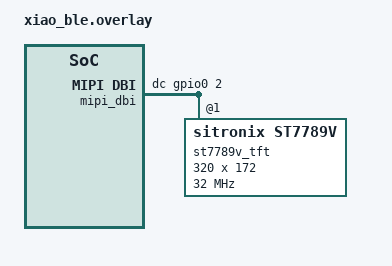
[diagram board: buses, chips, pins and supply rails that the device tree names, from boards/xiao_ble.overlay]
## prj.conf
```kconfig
CONFIG_LV_Z_MEM_POOL_SIZE=5000
CONFIG_LV_CONF_MINIMAL=y

CONFIG_LVGL=y
CONFIG_LV_USE_LOG=n
CONFIG_LV_USE_CANVAS=y
CONFIG_LV_COLOR_DEPTH_16=y

CONFIG_LV_COLOR_16_SWAP=n

CONFIG_LV_Z_FULL_REFRESH=n
CONFIG_LV_Z_VDB_ALIGN=4
CONFIG_LV_Z_VDB_SIZE=1
CONFIG_LV_Z_FLUSH_THREAD=n
CONFIG_LV_Z_DOUBLE_VDB=n

CONFIG_LV_Z_USE_FILESYSTEM=y

CONFIG_FS_LOG_LEVEL_INF=y

CONFIG_LV_FONT_DEFAULT_MONTSERRAT_48=n
CONFIG_LV_FONT_UNSCII_8=y
CONFIG_LV_FONT_UNSCII_16=y

CONFIG_CPP=y
CONFIG_MINIMAL_LIBCPP=n
CONFIG_GLIBCXX_LIBCPP=n
CONFIG_REQUIRES_FULL_LIBCPP=y
```

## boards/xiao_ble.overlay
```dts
#include <zephyr/dt-bindings/mipi_dbi/mipi_dbi.h>

/ {
	chosen {
		zephyr,display = &st7789v_tft;
	};

	mipi_dbi {
		compatible = "zephyr,mipi-dbi-spi";
		spi-dev = <&spi3>;
		dc-gpios = <&gpio0 2 GPIO_ACTIVE_HIGH>;
		clock-frequency = <DT_FREQ_M(32)>;
		write-only;
		#address-cells = <1>;
		#size-cells = <0>;
		status = "okay";

		st7789v_tft: st7789v_tft@1 {
			compatible = "sitronix,st7789v";
			status = "okay";
			reg = <1>;
			mipi-max-frequency = <DT_FREQ_M(32)>;
			width = <320>;
			height = <172>;
			x-offset = <0>;
			y-offset = <34>;
			vcom = <0x19>;
			gctrl = <0x35>;
			vrhs = <0x12>;
			vdvs = <0x20>;
			mdac = <0xA0>;
			gamma = <0x01>;
			colmod = <0x05>;
			lcm = <0x2C>;
			porch-param = [0c 0c 00 33 33];
			cmd2en-param = [5A 69 02 01];
			pwctrl1-param = [A4 A1];
			pvgam-param = [D0 04 0D 11 13 2B 3F 54 4C 18 0D 0B 1F 23];
			nvgam-param = [D0 04 0C 11 13 2C 3F 44 51 2F 1F 1F 20 23];
			ram-param = [00 F0];
			rgb-param = [CD 08 14];
			mipi-mode = "MIPI_DBI_MODE_SPI_4WIRE";
		};
	};
};
```

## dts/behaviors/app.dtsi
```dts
/*
 * Copyright (c) 2020 The ZMK Contributors
 *
 * SPDX-License-Identifier: MIT
 */

#include <dt-bindings/zmk/behaviors.h>
#include <dt-bindings/app_keys.h>
#include <dt-bindings/zmk/rgb.h>
#include <dt-bindings/zmk/outputs.h>

/ {
    behaviors {
        app: app {
            compatible = "zmk,behavior-app";
            #binding-cells = <1>;
            display-name = "App Key";
            bindings
                = <&rgb_ug RGB_BRI>
                , <&rgb_ug RGB_BRD>
                , <&out OUT_BLE>
                , <&out OUT_USB>
                , <&to 0>
                ;
        };

        app_encoder: app_encoder {
            compatible = "zmk,behavior-sensor-rotate";
            #sensor-binding-cells = <0>;
            bindings = <&app APP_INC>, <&app APP_DEC>;
        };
    };

    macros {
        app_macro: app_macro {
            compatible = "zmk,behavior-macro-two-param";
            #binding-cells = <2>;
            bindings
                = <&macro_param_1to1>
                , <&app MACRO_PLACEHOLDER>
                , <&macro_param_2to1>
                , <&to MACRO_PLACEHOLDER>
                ;
        };
    };
};
```

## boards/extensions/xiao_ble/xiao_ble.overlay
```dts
#include <zephyr/dt-bindings/mipi_dbi/mipi_dbi.h>

/ {
	chosen {
		zephyr,display = &st7789v_tft;
	};

	mipi_dbi {
		compatible = "zephyr,mipi-dbi-spi";
		spi-dev = <&spi3>;
		dc-gpios = <&gpio0 2 GPIO_ACTIVE_HIGH>;
		clock-frequency = <DT_FREQ_M(32)>;
		write-only;
		#address-cells = <1>;
		#size-cells = <0>;
		status = "okay";

		st7789v_tft: st7789v_tft@1 {
			compatible = "sitronix,st7789v";
			status = "okay";
			reg = <1>;
			mipi-max-frequency = <DT_FREQ_M(32)>;
			width = <320>;
			height = <172>;
			x-offset = <0>;
			y-offset = <34>;
			vcom = <0x19>;
			gctrl = <0x35>;
			vrhs = <0x12>;
			vdvs = <0x20>;
			mdac = <0xA0>;
			gamma = <0x01>;
			colmod = <0x05>;
			lcm = <0x2C>;
			porch-param = [0c 0c 00 33 33];
			cmd2en-param = [5A 69 02 01];
			pwctrl1-param = [A4 A1];
			pvgam-param = [D0 04 0D 11 13 2B 3F 54 4C 18 0D 0B 1F 23];
			nvgam-param = [D0 04 0C 11 13 2C 3F 44 51 2F 1F 1F 20 23];
			ram-param = [00 F8];
			rgb-param = [CD 08 14];
			mipi-mode = "MIPI_DBI_MODE_SPI_4WIRE";
		};
	};
};
```

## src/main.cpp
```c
// #include "main.h"
#include <lvgl.h>
#include <sstream>
#include <string>
#include <zephyr/device.h>
#include <zephyr/devicetree.h>
#include <zephyr/drivers/display.h>

#include <zephyr/kernel.h>
#include <zephyr/logging/log.h>
#include <zephyr/random/random.h>

#include <iomanip>

#include "animated_image.hpp"
#include "checkbox.hpp"
#include "draw/lv_draw_label.h"
#include "label.hpp"
#include "misc/lv_area.h"
#include "misc/lv_color.h"
#include "screen.hpp"
#include "screen_manager.hpp"
#include "setting.hpp"
#include "settings_panel.hpp"
#include "slider.hpp"
#include "utils.hpp"
#include "zmk/endpoints_types.h"

#include <dt-bindings/app_keys.h>

// #include <zmk/rgb_underglow.h>

#include <cmath>
#include <cstdint>

#include <zmk/behavior.h>
#include <zmk/events/activity_state_changed.h>

LOG_MODULE_REGISTER(display_app, CONFIG_ZMK_LOG_LEVEL);

// Forward Declarations
extern "C" void invokeBinding(int num);

K_SEM_DEFINE(flushStartSema, 0, 1);

Screen *mainScreen;
Screen *settingsScreen;
Screen *idleScreen;

SliderSetting keyBrightnessSetting(
    "Key Brightness", CONFIG_ZMK_RGB_UNDERGLOW_BRT_START / CONFIG_ZMK_RGB_UNDERGLOW_BRT_STEP,
    CONFIG_ZMK_RGB_UNDERGLOW_BRT_MAX / CONFIG_ZMK_RGB_UNDERGLOW_BRT_STEP, CONFIG_ZMK_RGB_UNDERGLOW_BRT_MIN / CONFIG_ZMK_RGB_UNDERGLOW_BRT_STEP,
    [](std::int32_t delta) {
      std::int32_t ticks = std::abs(delta);
      for (int i = 0; i < ticks; i++) {
        invokeBinding(delta > 0 ? APP_RGB_BRI : APP_RGB_BRD);
      }
    });

SettingsPanel* settingsPanel;

extern "C" struct zmk_endpoint_instance zmk_endpoints_selected(void);

int display_thread(void) {
  const struct device *display_dev;

  k_sleep(K_MSEC(1000));

  display_dev = DEVICE_DT_GET(DT_CHOSEN(zephyr_display));
  if (!device_is_ready(display_dev)) {
    LOG_ERR("Device not ready, aborting test");
    return 0;
  }

  k_sleep(K_MSEC(1000)); // let the flash disk settle

  display_blanking_off(display_dev);

  ScreenManager &screenManager = ScreenManager::getScreenManager();

  idleScreen = new Screen();
  idleScreen->hasBackground = true;
  idleScreen->backgroundColor = lv_color_black();

  // setup a simple screen with an animation and FPS label
  mainScreen = new Screen();
  mainScreen->elements.emplace_back(new AnimatedImage(
      lv_area_t{0, 0, 319, 171}, "/NAND:/frame_", ".bin", 11));

  auto fpsLabel = new Label(lv_point_t{260, 160});
  fpsLabel->setDesc([](lv_draw_label_dsc_t &desc) {
    lv_draw_label_dsc_init(&desc);
    desc.font = &lv_font_unscii_8;
    desc.color = lv_color_white();
  });
  fpsLabel->setTickCallback([](lv_draw_label_dsc_t &desc, std::string &text) {
    static std::uint32_t last_frame_time = 0;
    static std::uint32_t fps = 0;

    uint32_t frame_time = k_cycle_get_32();
    std::uint32_t newFps =
        1000 / k_cyc_to_ms_floor32(frame_time - last_frame_time);
    last_frame_time = frame_time;

    std::stringstream stream{};
    stream << std::setfill('0') << std::setw(2);
    stream << std::to_string(newFps) << " FPS\0";

    text = stream.str();

    bool ret = (newFps != fps);
    fps = newFps;
    return ret;
  });
  mainScreen->elements.emplace_back(fpsLabel);

  // setup settings screen for later
  settingsScreen = new Screen();
  settingsScreen->hasBackground = true;
  settingsScreen->backgroundColor = lv_color_white();

  auto myLabel = new Label(lv_point_t{100, 100});
  myLabel->setText("Hello!");
  myLabel->setDesc([](lv_draw_label_dsc_t &desc) {
    desc.font = &lv_font_unscii_16;
    desc.color = lv_color_black();
  });
  settingsScreen->elements.emplace_back(myLabel);

  settingsPanel = new SettingsPanel(lv_area_t{10, 10, 0, 0});
  settingsPanel->setDesc([](lv_draw_label_dsc_t &textDesc,
                            lv_draw_label_dsc_t &hoveredTextDesc,
                            lv_draw_rect_dsc_t &hoveredBackgroundDesc,
                            lv_draw_rect_dsc_t &selectedBackgroundDesc,
                            lv_draw_label_dsc_t &selectedTextDesc) {
    textDesc.color = lv_color_black();
    textDesc.font = &lv_font_unscii_8;

    hoveredTextDesc.color = lv_color_black();
    hoveredTextDesc.font = &lv_font_unscii_8;

    hoveredBackgroundDesc.bg_opa = LV_OPA_0;
    hoveredBackgroundDesc.outline_color = lv_color_hex(0x0096FF);
    hoveredBackgroundDesc.outline_width = 3;

    selectedBackgroundDesc.bg_color = lv_color_hex(0x0000FF);

    selectedTextDesc.color = lv_color_white();
  });

  auto mySlider = new Slider(lv_area_t{20, 20, 160, 40}, keyBrightnessSetting);
  mySlider->setDesc(
      [](lv_draw_rect_dsc_t &boundingDesc, lv_draw_rect_dsc_t &slideDesc) {
        boundingDesc.bg_color = lv_color_hex(0x808080);

        boundingDesc.outline_color = lv_color_black();
        boundingDesc.outline_width = 3;

        slideDesc.bg_color = lv_color_hex(0x0096FF);
      });
  settingsPanel->addSetting(&keyBrightnessSetting, mySlider);

  auto bluetoothToggle = new ToggleSetting(
      "Bluetooth Enable",
      zmk_endpoints_selected().transport == zmk_transport::ZMK_TRANSPORT_BLE,
      [](bool newVal) { invokeBinding(newVal ? APP_BLE : APP_USB); });
  auto bluetoothCheckbox =
      new Checkbox(lv_area_t{20, 20, 40, 40}, *bluetoothToggle);
  bluetoothCheckbox->setDesc(
      [](lv_draw_rect_dsc_t &boundingDesc, lv_draw_rect_dsc_t &onDesc) {
        boundingDesc.bg_opa = LV_OPA_0;
        boundingDesc.outline_color = lv_color_hex(0xA0A0A0);
        boundingDesc.outline_width = 4;

        onDesc.bg_color = lv_color_hex(0x0000FF);
      });
  settingsPanel->addSetting(bluetoothToggle, bluetoothCheckbox);
  settingsScreen->elements.emplace_back(settingsPanel);

  screenManager.setScreen(mainScreen);

  screenManager.loop();

  return 0;
}

K_THREAD_DEFINE(dsp_thread, 8192, display_thread, NULL, NULL, NULL, 3, 0, 0);

// Hook into ZMK's activity event to pause the display when we enter idle
// Eventually this would also shutoff the backlight, but right now the keypad
// doesn't have backlight controls :) This is implemented incorrectly on
// purpose. Linker errors occur with as_zmk_activity_state_changed() not being
// defined for some reason.
static int display_activity_listener(const zmk_event_t *eh) {
  auto stateChange =
      reinterpret_cast<const zmk_activity_state_changed_event *>(eh);
  LOG_DBG("Acitivty State: %d", stateChange->data.state);
  switch (stateChange->data.state) {
  case ZMK_ACTIVITY_ACTIVE:
    // ScreenManager::getScreenManager().setScreen(mainScreen);
    break;
  case ZMK_ACTIVITY_IDLE:
  case ZMK_ACTIVITY_SLEEP:
    // ScreenManager::getScreenManager().setScreen(idleScreen);
    break;
  }
  return 0;
}

ZMK_LISTENER(activity, display_activity_listener);
ZMK_SUBSCRIPTION(activity, zmk_activity_state_changed);

// not thread safe :)
extern "C" void switchScreensC(int screenNum) {
  LOG_INF("I'm in C++ land!");

  auto &screenManager = ScreenManager::getScreenManager();

  switch (screenNum) {
  case 0:
    screenManager.setScreen(mainScreen);
    break;
  case 1:
    screenManager.setScreen(settingsScreen);
    break;
  }
}

extern "C" void processKeyPress(int key) {
  auto &screenManager = ScreenManager::getScreenManager();

  LOG_DBG("Processing key %d", key);

  if (screenManager.getScreen() != settingsScreen) {
    LOG_DBG("Not on settings screen");
    return;
  }

  if (!settingsPanel->hasSelection()) {
    LOG_DBG("No selection");
    switch (key) {
    case APP_DEC:
      LOG_DBG("DOWN DOWN DOWN");
      settingsPanel->hoverNext();
      break;
    case APP_INC:
      LOG_DBG("UP UP UP");
      settingsPanel->hoverPrev();
      break;
    case APP_A:
      LOG_DBG("SELECT!!!!");
      settingsPanel->select();
      break;
    case APP_B:
      switchScreensC(0);
      invokeBinding(APP_MAIN);
      break;
    default:
      LOG_DBG("wth...");
    }
  } else {
    LOG_DBG("Selection available");
    switch (key) {
      case APP_INC:
        settingsPanel->action(SettingAction::INCREASE);
        break;
      case APP_DEC:
        settingsPanel->action(SettingAction::DECREASE);
        break;
      case APP_A:
        settingsPanel->action(SettingAction::TOGGLE);
        break;
      case APP_B:
        settingsPanel->deselect();
        break;
    }
  }
}

// K_THREAD_DEFINE(screen_switch_thread, 1024, switchScreens, NULL, NULL, NULL,
// 2, 0, 0);
```

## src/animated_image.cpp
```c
#include "animated_image.hpp"

#include "image.hpp"
#include <lvgl.h>
#include <zephyr/fs/fs.h>
#include <zephyr/logging/log.h>

#include <string>
#include <cstdint>

LOG_MODULE_DECLARE(display_app);

AnimatedImage::AnimatedImage(lv_area_t coords, std::string prefix, std::string suffix, std::uint8_t numFrames)
    : Image(coords), counter(0), numFrames(numFrames), filePrefix(prefix), fileSuffix(suffix)
{
}

bool AnimatedImage::tick()
{
   // LOG_PRINTK("Ticking animation\n");
   // The LVGL version that ZMK uses has a memory leak on file close.
   if (file.file_d != nullptr)
   {
      lv_fs_close(&file);
   }

   std::string fileName = generateFileName();
   // LOG_PRINTK("Opening %s\n", fileName.c_str());
   lv_fs_res_t res = lv_fs_open(&file, fileName.c_str(), LV_FS_MODE_RD);
   if (res != LV_FS_RES_OK)
   {
      LOG_ERR("File %s failed to open", fileName.c_str());
      counter = 0;
      return false;
   }
   // LOG_INF("opened file!");
   counter = (counter + 1) % numFrames;

   return true;
}
```

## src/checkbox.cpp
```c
#include "checkbox.hpp"
#include "mini_canvas.hpp"
#include "misc/lv_area.h"
#include "utils.hpp"
#include "zephyr/logging/log.h"
#include <lvgl.h>


LOG_MODULE_DECLARE(display_app, CONFIG_ZMK_LOG_LEVEL);

lv_area_t operator-(lv_area_t const &coord1, lv_point_t const &offset);

bool Checkbox::tick() {
  bool retVal = setting.getValue() != oldValue;
  oldValue = setting.getValue();
  return retVal;
}

void Checkbox::draw(MiniCanvas *canvas) {
  lv_layer_t layer;
  lv_canvas_init_layer(reinterpret_cast<lv_obj_t *>(canvas), &layer);

  lv_area_t adjustedCoords =
      coords - lv_point_t{canvas->img.obj.coords.x1, canvas->img.obj.coords.y1};

  LOG_PRINTK("X1: %d\nY1: %d\n", adjustedCoords.x1, adjustedCoords.y1);
  LOG_PRINTK("X2: %d\nY2: %d\n", adjustedCoords.x2, adjustedCoords.y2);

  lv_draw_rect(&layer, &boundingDesc, &adjustedCoords);

  if (setting.getValue()) {
    lv_draw_rect(&layer, &onDesc, &adjustedCoords);
  }

  lv_canvas_finish_layer(reinterpret_cast<lv_obj_t *>(canvas), &layer);
}
```

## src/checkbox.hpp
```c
#pragma once

#include "canvas_object.hpp"
#include "setting.hpp"
#include <lvgl.h>

class Checkbox : public CanvasObject
{
    private:
    ToggleSetting& setting;
    bool oldValue = false;
    lv_draw_rect_dsc_t boundingDesc{};
    lv_draw_rect_dsc_t onDesc{};

    public:
    Checkbox(lv_area_t coords, ToggleSetting& setting) : CanvasObject(coords), setting(setting)
    {
        lv_draw_rect_dsc_init(&boundingDesc);
        lv_draw_rect_dsc_init(&onDesc);
    }

    void setDesc(std::function<void(lv_draw_rect_dsc_t& boundingDesc, lv_draw_rect_dsc_t& onDesc)> const& callback)
    {
       callback(boundingDesc, onDesc);
    }

    bool tick() override;

    void draw(MiniCanvas* canvas) override;
};
```

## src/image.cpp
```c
#include "image.hpp"

#include "canvas_object.hpp"
#include "mini_canvas.hpp"
#include <lvgl.h>
#include <zephyr/logging/log.h>

LOG_MODULE_DECLARE(display_app);

Image::Image(lv_area_t coords) : CanvasObject(coords)
{
}

void Image::draw(MiniCanvas* canvas)
{
   if (canvas == nullptr)
   {
      LOG_ERR("Canvas is null");
      return;
   }
   if (!inBounds(canvas))
   {
      LOG_INF("Image is not in bounds of the canvas, skipping...");
      return;
   }

   if (file.file_d == nullptr)
   {
      LOG_ERR("File is null :(");
      return;
   }

   // Check if this image is left aligned to the canvas (no x offset and the widths are the same).
   // If the image is aligned, the image can be rendered onto the canvas in one go since we do not need to stop
   // streaming image file data every line to crop and pad.
   std::uint16_t imageWidth = this->coords.x2 - this->coords.x1 + 1;
   std::uint16_t imageHeight = this->coords.y2 - this->coords.y1 + 1;
   auto& canvasCoords = canvas->img.obj.coords;

   if (this->coords.x1 == 0 && canvas->img.w == imageWidth)
   {
      // Skip over the image header and any rows that are obscured by the canvas' current bound
      std::uint32_t filePos = 4; // Skip over image header from LVGL v8 conversion tool
      std::uint32_t canvasPos = 0;
      std::int32_t delta = this->coords.y1 - canvasCoords.y1;
      if (delta < 0)
      {
         // The image is positioned above the start of the canvas viewable area
         // We need to seek futher into the image data to begin reading into canvas[0][0] at the right place.
         filePos = static_cast<std::uint32_t>(-delta) * imageWidth * 2;
      }
      else if (delta > 0)
      {
         // The image is positioned below the start of the canvas vierable area
         // We need to begin reading data into an offset in the canvas, not the file.
         canvasPos = delta * imageWidth * 2;
      }
      else
      {
         // Canvas and image are top-left aligned, nothing to do.
      }

      // Adjust the size of data to be read based on how many of the image rows are in bounds
      std::uint16_t visibleRows = 0;
      if ((this->coords.y1 - canvasCoords.y1) < 0 && (this->coords.y2 - canvasCoords.y2 > 0))
      {
         // Image starts before and ends after. The canvas bounds are within the entire image bounds.
         visibleRows = canvas->img.h;
      }
      else if ((this->coords.y1 - canvasCoords.y1) < 0 && (this->coords.y2 - canvasCoords.y2 < 0))
      {
         // Image starts before and ends before.
         visibleRows = this->coords.y2 - canvasCoords.y1;
      }
      else if ((this->coords.y1 - canvasCoords.y1) > 0 && (this->coords.y2 - canvasCoords.y2 > 0))
      {
         // Image starts after and ends after.
         visibleRows = canvasCoords.y2 - this->coords.y1;
      }
      else if ((this->coords.y1 - canvasCoords.y1) > 0 && (this->coords.y2 - canvasCoords.y2 < 0))
      {
         // Image starts after and ends before. The image bounds are entirely within the canvas bounds
         visibleRows = imageHeight;
      }
      else
      {
         // Image and canvas are perfectly aligned and the same size
         visibleRows = canvas->img.h;
      }

      std::uint32_t croppedSize = visibleRows * imageWidth * 2;
      lv_fs_seek(&file, filePos, LV_FS_SEEK_SET);

      std::uint32_t read_bytes = 0;
      // LOG_INF("reading");
      lv_fs_read(&file, canvas->canvasBuffer, croppedSize, &read_bytes);
      if (read_bytes != croppedSize)
      {
         LOG_ERR("Failed to read entire selection, only read %u bytes", read_bytes);
      }
      // LOG_INF("Finished reading");
   }
   else
   {
      // Arbitrary image position is not currently supported
      LOG_INF("Image is not aligned with the canvas, skipping...");
      return;
   }
}
```

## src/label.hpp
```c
#include "canvas_object.hpp"
#include "draw/lv_draw_label.h"
#include "mini_canvas.hpp"
#include "misc/lv_area.h"
#include <functional>
#include <lvgl.h>
#include <string>

class Label : public CanvasObject
{
   private:
   lv_draw_label_dsc_t labelDesc{};
   std::string text{};
   std::function<bool(lv_draw_label_dsc_t&, std::string&)> tickCallback{};

   public:
   void setDesc(std::function<void(lv_draw_label_dsc_t& desc)> const& callback)
   {
      callback(labelDesc);
   }

   void setText(std::string const& str)
   {
      text = str;
   }

   void setTickCallback(std::function<bool(lv_draw_label_dsc_t&, std::string&)> const& callback)
   {
      tickCallback = callback;
   }

   bool tick() override
   {
      if (tickCallback)
      {
         return tickCallback(labelDesc, text);
      }

      return false;
   }

   void draw(MiniCanvas* canvas) override
   {
      lv_layer_t layer;
      lv_canvas_init_layer(reinterpret_cast<lv_obj_t*>(canvas), &layer);
      labelDesc.text = text.c_str();
      lv_area_t textCoords{coords.x1 - canvas->img.obj.coords.x1, coords.y1 - canvas->img.obj.coords.y1, coords.x1 - canvas->img.obj.coords.x1 + 200, coords.y1 - canvas->img.obj.coords.y1 + 20};
      lv_draw_label(&layer, &labelDesc, &textCoords);
      lv_canvas_finish_layer(reinterpret_cast<lv_obj_t*>(canvas), &layer);
   }

   Label(lv_point_t coords) : CanvasObject(lv_area_t{coords.x, coords.y, 0, 0})
   {
      lv_draw_label_dsc_init(&labelDesc);
   }
};
```

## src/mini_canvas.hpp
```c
#pragma once

#include <lvgl.h>
#include <widgets/canvas/lv_canvas_private.h>
#include <cstdint>

struct MiniCanvas : public lv_canvas_t
{
   std::uint8_t* canvasBuffer{};
};
```

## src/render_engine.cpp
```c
#include "render_engine.hpp"
#include <lvgl.h>
#include <zephyr/kernel.h>
#include <zephyr/logging/log.h>
#include <cstring>

#include "misc/lv_color.h"
#include "screen.hpp"
#include "widgets/canvas/lv_canvas.h"

LOG_MODULE_DECLARE(display_app);

RenderEngine::RenderEngine()
{
}

void RenderEngine::draw(Screen& screen, MiniCanvas* canvas)
{
   if (screen.hasBackground && drawBackground > 0)
   {
      lv_canvas_fill_bg(reinterpret_cast<lv_obj_t*>(canvas), screen.backgroundColor, LV_OPA_100);
      drawBackground--;
   }

   for (auto& object : screen.elements)
   {
      // LOG_INF("Drawing canvas object");
      object->draw(canvas);
   }

   // LOG_INF("Finished drawing canvas");
}
```

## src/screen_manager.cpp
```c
#include "screen_manager.hpp"

#include <lvgl.h>

#include <cstdint>

#include "render_engine.hpp"
#include <cstring>
#include <zephyr/kernel.h>
#include <zephyr/logging/log.h>
#include <zmk/activity.h>
#include <zmk/event_manager.h>

LOG_MODULE_DECLARE(display_app, CONFIG_ZMK_LOG_LEVEL);

namespace {
K_SEM_DEFINE(readSema1, 1, 1);
K_SEM_DEFINE(readSema2, 1, 1);
K_SEM_DEFINE(flushSema1, 0, 1);
K_SEM_DEFINE(flushSema2, 0, 1);

} // namespace

alignas(4) std::uint8_t ScreenManager::image_buffer[IMAGE_SIZE] = {0};

ScreenManager::ScreenManager() {
  renderEngine = new RenderEngine();

  // Intialize our MiniCanvases
  lv_canvas_t *lvCanvas =
      reinterpret_cast<lv_canvas_t *>(lv_canvas_create(lv_scr_act()));
  std::memcpy(static_cast<void *>(&miniCanvas1), lvCanvas, sizeof(lv_canvas_t));
  miniCanvas1.canvasBuffer = image_buffer;
  lv_canvas_set_buffer(reinterpret_cast<lv_obj_t *>(&miniCanvas1),
                       miniCanvas1.canvasBuffer, SCREEN_WIDTH,
                       SCREEN_HEIGHT / 2, LV_COLOR_FORMAT_RGB565);
  miniCanvas1.img.obj.coords = lv_area_t{0, 0, 319, 85};

  lvCanvas = reinterpret_cast<lv_canvas_t *>(lv_canvas_create(lv_scr_act()));
  std::memcpy(static_cast<void *>(&miniCanvas2), lvCanvas, sizeof(lv_canvas_t));
  miniCanvas2.canvasBuffer =
      &image_buffer[SCREEN_WIDTH * (SCREEN_HEIGHT / 2) * 2];
  lv_canvas_set_buffer(reinterpret_cast<lv_obj_t *>(&miniCanvas2),
                       miniCanvas2.canvasBuffer, SCREEN_WIDTH,
                       SCREEN_HEIGHT / 2, LV_COLOR_FORMAT_RGB565);
  miniCanvas2.img.obj.coords = lv_area_t{0, 86, 319, 171};

  // Initialize display descriptor
  display_desc.buf_size = IMAGE_SIZE / 2;
  display_desc.width = 320;
  display_desc.height = 86;
  display_desc.pitch = 0;
}

bool ScreenManager::tick() {
  // LOG_INF("tick!");
  if (currentScreen != nullptr) {
    return currentScreen->tick();
  }

  return false;
}

void ScreenManager::draw(MiniCanvas *canvas) {
  // LOG_INF("draw!");
  if (currentScreen != nullptr) {
    renderEngine->draw(*currentScreen, canvas);
  }
}

void ScreenManager::flush(MiniCanvas *canvas) {
  // LOG_INF("Flushing...");
  display_write(display_dev, canvas->img.obj.coords.x1,
                canvas->img.obj.coords.y1, &display_desc, canvas->canvasBuffer);
  // LOG_INF("Flushing complete!");
}

K_SEM_DEFINE(displayRefreshSema, 1, 1)

void displayRefresh(struct k_timer *dummy) { k_sem_give(&displayRefreshSema); }

K_TIMER_DEFINE(displayTimer, displayRefresh, NULL);

void ScreenManager::loop() {
  k_timer_start(&displayTimer, K_MSEC(30), K_MSEC(30));

  while (1) {
    // Wait here until we've been resumed
    while (!running) {
      k_sleep(K_MSEC(1));
    }

    k_sem_take(&displayRefreshSema, K_FOREVER);

    // TODO RACE CONDITION!! screen changing is not thread safe
    if (tick() || screenChanged) {
      screenChanged = false;

      k_sem_take(&readSema1, K_FOREVER);
      draw(&miniCanvas1);
      k_sem_give(&flushSema1);

      k_sem_take(&readSema2, K_FOREVER);
      draw(&miniCanvas2);
      k_sem_give(&flushSema2);
    }
  }
}

void ScreenManager::flushLoop() {
  ScreenManager &screen = ScreenManager::getScreenManager();
  while (1) {
    k_sem_take(&flushSema1, K_FOREVER);
    screen.flush(&screen.miniCanvas1);
    k_sem_give(&readSema1);

    k_sem_take(&flushSema2, K_FOREVER);
    screen.flush(&screen.miniCanvas2);
    k_sem_give(&readSema2);
  }
}

K_THREAD_DEFINE(flushing_thread, 4048, ScreenManager::flushLoop, NULL, NULL,
                NULL, 3, 0, 0);
```

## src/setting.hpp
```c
#pragma once

#include "zephyr/logging/log.h"
#include <cstdint>
#include <functional>
#include "utils.hpp"
#include <string>

enum SettingAction
{
   TOGGLE,
   INCREASE,
   DECREASE
};

class Setting
{
   protected:
   std::string name;

   public:
   Setting(std::string name) : name(name)
   {
   }

   std::string getName()
   {
      return name;
   }

   virtual void action(SettingAction action) = 0;
};

class SliderSetting : public Setting
{
   protected:
   std::int32_t value;
   std::int32_t max;
   std::int32_t min;
   std::function<void(std::int32_t)> callback;

   public:
   SliderSetting(std::string name, std::int32_t start, std::int32_t max, std::int32_t min,
                 std::function<void(std::int32_t)> const& callback)
       : Setting(name), value(start), max(max), min(min), callback(callback)
   {
   }

   void addDelta(std::int32_t delta)
   {
      std::int32_t newValue = Utils::clamp<std::int32_t>(value + delta, max, min);
      std::int32_t actualDelta = newValue - value;
      LOG_PRINTK("\n\nCurrent Val: %d\n New Val: %d\n Actual Delta %d\n", value, newValue, actualDelta);
      callback(actualDelta);
      value = newValue;
   }

   void setValue(std::int32_t val)
   {
      std::int32_t newValue = Utils::clamp<std::int32_t>(val, max, min);
      std::int32_t delta = newValue - value;
      callback(delta);
      value = newValue;
   }

   std::int32_t getValue()
   {
      return value;
   }

   std::int32_t getMax()
   {
      return max;
   }

   std::int32_t getMin()
   {
      return min;
   }

   void action(SettingAction action) override
   {
      switch (action)
      {
         case SettingAction::INCREASE:
            addDelta(1);
            break;
         case SettingAction::DECREASE:
            addDelta(-1);
            break;
      }
   }
};

class ToggleSetting : public Setting
{
   protected:
   bool currentToggle;
   std::function<void(bool)> callback;

   public:
   ToggleSetting(std::string name, bool start, std::function<void(bool)> callback) : Setting(name), currentToggle(start), callback(callback)
   {
   }

   bool getValue()
   {
      return currentToggle;
   }

   void toggle()
   {
      currentToggle = !currentToggle;
      callback(currentToggle);
   }

   void action(SettingAction action) override
   {
      if (action == SettingAction::TOGGLE)
      {
         LOG_PRINTK("Toggling!");
         toggle();
      }
   }
};
```

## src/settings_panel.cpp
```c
#include "settings_panel.hpp"
#include "misc/lv_color.h"
#include <zephyr/logging/log.h>

LOG_MODULE_DECLARE(display_app, CONFIG_ZMK_LOG_LEVEL);

namespace {
lv_area_t operator-(lv_area_t const &coord1, lv_area_t const &coord2) {
  return lv_area_t{
      coord1.x1 - coord2.x1,
      coord1.y1 - coord2.y1,
      coord1.x2 - coord2.x2,
      coord1.y2 - coord2.y2,
  };
}
} // namespace

void SettingsPanel::setDesc(
    std::function<void(
        lv_draw_label_dsc_t &textDesc, lv_draw_label_dsc_t &hoveredTextDesc,
        lv_draw_rect_dsc_t &hoveredBackgroundDesc, lv_draw_rect_dsc_t &selectedBackgroundDesc, lv_draw_label_dsc_t &selectedTextDesc)> const &callback) {
  callback(textDesc, hoveredTextDesc, hoveredBackgroundDesc, selectedBackgroundDesc, selectedTextDesc);
}

void SettingsPanel::addSetting(Setting *setting, CanvasObject *canvasObject) {
  settings.emplace_back(SettingWithCanvasObject{setting, canvasObject});
}

void SettingsPanel::action(SettingAction action) {
  if (!selected) {
    selected = true;
  } else {
    Setting *currentSetting = settings[hoveredSettingIndex].setting;
    currentSetting->action(action);
  }
  updated = true;
}

bool SettingsPanel::hasSelection() { return selected; }

void SettingsPanel::select() { selected = true; updated = true; }

void SettingsPanel::deselect() {
  selected = false;
  updated = true;
}

void SettingsPanel::hoverNext() {
  if (selected) {
    return;
  }

  hoveredSettingIndex =
      Utils::clamp<std::uint32_t>(hoveredSettingIndex + 1, settings.size() - 1, 0);

  updated = true;
}

void SettingsPanel::hoverPrev() {
  if (selected) {
    return;
  }

  hoveredSettingIndex =
      Utils::clamp<std::uint32_t>(hoveredSettingIndex - 1, settings.size() - 1, 0);

  updated = true;
}

bool SettingsPanel::tick() {
  bool retVal = updated;
  for (auto &it : settings) {
    retVal |= it.canvasObject->tick();
  }
  updated = false;
  return retVal;
}

void SettingsPanel::draw(MiniCanvas *canvas) {
  LOG_DBG("DRAW! %d", hoveredSettingIndex);
  // Draw all settings in a vertical list, placing the hovered one in a
  // "selected" color and invert text color

     lv_layer_t layer;
    lv_canvas_init_layer(reinterpret_cast<lv_obj_t *>(canvas), &layer);

    lv_canvas_fill_bg(reinterpret_cast<lv_obj_t*>(canvas), lv_color_white(), LV_OPA_100);

  for (int i = 0; i < settings.size(); i++) {
    lv_area_t adjustedCoords = coords - canvas->img.obj.coords;

    settings[i].canvasObject->setPosition(
        lv_point_t{adjustedCoords.x1 + 150,
                   static_cast<lv_coord_t>(adjustedCoords.y1 + (i * 30))});

    // Draw background first
    if (i == hoveredSettingIndex) {
      lv_area_t rectCoords{adjustedCoords.x1, adjustedCoords.y1 + (i * 30),
                           adjustedCoords.x1 + 130, adjustedCoords.y1 + (i * 30) + 20};
      lv_draw_rect(&layer, selected ? &selectedBackgroundDesc : &hoveredBackgroundDesc, &rectCoords);
    }

    // Draw text
    lv_area_t textCoords{
        adjustedCoords.x1 + 5,
        static_cast<lv_coord_t>(adjustedCoords.y1 + 5 + (i * 30)),
        adjustedCoords.x1 + 200,
        static_cast<lv_coord_t>(adjustedCoords.y1 + 5 + (i * 30) + 30)};
    lv_draw_label_dsc_t &dsc =
        i == hoveredSettingIndex ? (selected ? selectedTextDesc : hoveredTextDesc) : textDesc;
    dsc.text = settings[i].setting->getName().c_str();
    lv_draw_label(&layer, &dsc, &textCoords);

    lv_canvas_finish_layer(reinterpret_cast<lv_obj_t *>(canvas), &layer);

    // Draw setting widget
    settings[i].canvasObject->draw(canvas);
  }
}
```

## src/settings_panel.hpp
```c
#pragma once

#include "canvas_object.hpp"
#include "mini_canvas.hpp"
#include "misc/lv_area.h"
#include "setting.hpp"
#include "utils.hpp"
#include <algorithm>
#include "setting.hpp"
#include "zephyr/logging/log.h"
#include <vector>

struct SettingWithCanvasObject
{
   Setting* setting;
   CanvasObject* canvasObject;
};

class SettingsPanel : public CanvasObject
{
   private:
   lv_draw_rect_dsc_t boundingRectDesc;
   std::vector<SettingWithCanvasObject> settings;
   std::uint32_t hoveredSettingIndex = 0;
   lv_draw_label_dsc_t textDesc{};
   lv_draw_label_dsc_t hoveredTextDesc{};
   lv_draw_rect_dsc_t hoveredBackgroundDesc{};
   lv_draw_rect_dsc_t selectedBackgroundDesc{};
   lv_draw_label_dsc_t selectedTextDesc{};
   bool selected = false;
   bool updated = false;

   public:
   SettingsPanel(lv_area_t coords) : CanvasObject(coords), settings{}, hoveredSettingIndex(0)
   {
      lv_draw_label_dsc_init(&textDesc);
      lv_draw_label_dsc_init(&hoveredTextDesc);
      lv_draw_rect_dsc_init(&hoveredBackgroundDesc);
      lv_draw_rect_dsc_init(&selectedBackgroundDesc);
      lv_draw_label_dsc_init(&selectedTextDesc);
   }

   void setDesc(std::function<void(
        lv_draw_label_dsc_t &textDesc, lv_draw_label_dsc_t &hoveredTextDesc,
        lv_draw_rect_dsc_t &hoveredBackgroundDesc, lv_draw_rect_dsc_t &selectedBackgroundDesc, lv_draw_label_dsc_t &selectedTextDesc)> const &callback);

   void addSetting(Setting* setting, CanvasObject* canvasObject);

   void action(SettingAction action);

   bool hasSelection();

   void select();
   void deselect();

   void hoverNext();

   void hoverPrev();

   bool tick() override;


   void draw(MiniCanvas* canvas) override;
};
```

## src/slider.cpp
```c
#include "slider.hpp"
#include "mini_canvas.hpp"
#include "misc/lv_area.h"
#include "utils.hpp"
#include "zephyr/logging/log.h"
#include <lvgl.h>


LOG_MODULE_DECLARE(display_app, CONFIG_ZMK_LOG_LEVEL);

lv_area_t operator-(lv_area_t const &coord1, lv_point_t const &offset) {
  return lv_area_t{
      coord1.x1 - offset.x,
      coord1.y1 - offset.y,
      coord1.x2 - offset.x,
      coord1.y2 - offset.y,
  };
}

bool Slider::tick() {
  bool retVal = setting.getValue() != oldValue;
  oldValue = setting.getValue();
  return retVal;
}

void Slider::draw(MiniCanvas *canvas) {
  lv_layer_t layer;
  lv_canvas_init_layer(reinterpret_cast<lv_obj_t *>(canvas), &layer);

  lv_area_t adjustedCoords =
      coords - lv_point_t{canvas->img.obj.coords.x1, canvas->img.obj.coords.y1};

  LOG_PRINTK("X1: %d\nY1: %d\n", adjustedCoords.x1, adjustedCoords.y1);
  LOG_PRINTK("X2: %d\nY2: %d\n", adjustedCoords.x2, adjustedCoords.y2);

  // Draw a bounding box the size of the coords
  lv_draw_rect(&layer, &boundingRectDesc, &adjustedCoords);

  // Calculate the percentage that should be filled
  std::int32_t range = setting.getMax() - setting.getMin();
  std::int32_t percent =
      (100 * (setting.getValue() - setting.getMin())) / range;
  std::int32_t sliderWidth =
      ((adjustedCoords.x2 - adjustedCoords.x1) * percent) / 100;

  LOG_PRINTK("Range: %d\n Percent: %d\n Slider Width: %d\n", range, percent,
             sliderWidth);

  // Draw the slider
  lv_area_t rectCoords{adjustedCoords.x1, adjustedCoords.y1,
                       adjustedCoords.x1 + sliderWidth, adjustedCoords.y2};
  LOG_PRINTK("\n\nX1: %d\nY1: %d\n", rectCoords.x1, rectCoords.y1);
  LOG_PRINTK("X2: %d\nY2: %d\n\n\n", rectCoords.x2, rectCoords.y2);
  lv_draw_rect(&layer, &slideRectDesc, &rectCoords);

  lv_canvas_finish_layer(reinterpret_cast<lv_obj_t *>(canvas), &layer);
}
```
